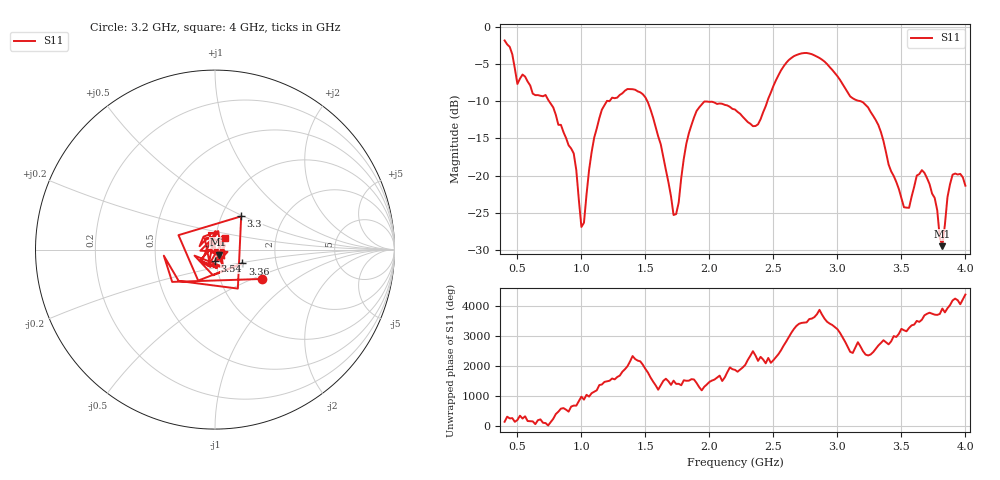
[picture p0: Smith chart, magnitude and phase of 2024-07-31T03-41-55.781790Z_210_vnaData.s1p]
!Created with skrf (http://scikit-rf.org).
# Hz S RI R 50.0
!freq ReS11 ImS11
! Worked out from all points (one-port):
!   181 points, 400 MHz to 4 GHz, reference 50 ohm
!   lowest |S11| = -29.4 dB at 3.82 GHz (marker M1), VSWR 1.07, Z = 51.9 - j2.84 ohm
!   |S11| at or under -10 dB: 747.2 MHz to 1.199 GHz (451.4 MHz wide, 46.4 % of centre); 1.515 GHz to 2.453 GHz (938.1 MHz wide, 47.3 % of centre); 3.181 GHz to end of sweep (the widest 3 of 4)
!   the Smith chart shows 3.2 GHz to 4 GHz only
!   S11 on the Smith chart (normalised r, x): 3.2 GHz: 1.59, -0.58; 3.3 GHz: 1.24, +0.49; 3.36 GHz: 1.34, -0.21; 3.54 GHz: 0.99, -0.12; 4 GHz: 1.10, +0.15
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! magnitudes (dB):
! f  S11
! 400 MHz  -1.9
! 500 MHz  -7.7
! 720 MHz  -9.2
! 860 MHz  -14.2
! 940 MHz  -17.0
! 1 GHz  -26.9
! 1.14 GHz  -12.3
! 1.3 GHz  -9.2
! 1.5 GHz  -9.5
! 1.62 GHz  -15.8
! 1.72 GHz  -25.3
! 1.76 GHz  -23.6
! 1.82 GHz  -15.7
! 1.9 GHz  -11.3
! 2.2 GHz  -11.1
! 2.38 GHz  -13.1
! 2.66 GHz  -4.0
! 3.1 GHz  -9.4
! 3.2 GHz  -10.2
! 3.3 GHz  -12.5
! 3.36 GHz  -15.3
! 3.54 GHz  -24.3
! 3.56 GHz  -24.3
! 3.68 GHz  -19.6
! 3.76 GHz  -23.0
! 3.82 GHz  -29.4
! 3.9 GHz  -19.9
! 4 GHz  -21.3
